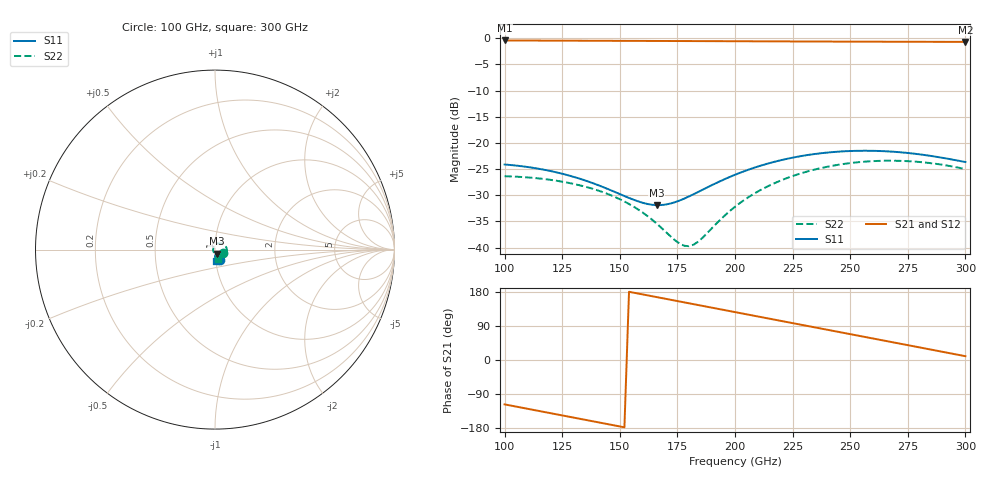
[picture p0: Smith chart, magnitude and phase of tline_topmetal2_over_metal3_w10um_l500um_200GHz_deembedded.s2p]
! Created with skrf 2.0.1 (http://scikit-rf.org).
# GHz S DB R 50.0
!freq dBS11 angS11 dBS21 angS21 dBS12 angS12 dBS22 angS22
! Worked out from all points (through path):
!   101 points, 100 GHz to 300 GHz, reference 50 ohm
!   highest |S21| = -0.41 dB at 100 GHz (marker M1); lowest = -0.7 dB at 300 GHz (marker M2)
!   group delay of S21, straight-line fit = 3.23 ps
!   lowest |S11| = -31.9 dB at 166 GHz (marker M3), VSWR 1.05, Z = 50.9 - j2.39 ohm
!   |S11| at or under -10 dB: start of sweep to end of sweep
!   |S22| runs from -39.7 to -23.4 dB; largest |S21 - S12| = 1.1e-14
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100  -24.12 -63.8  -0.41 -117.1  -0.41 -117.1  -26.36 -26.0
108  -24.49 -71.0  -0.42 -126.5  -0.42 -126.5  -26.53 -32.5
118  -25.20 -79.0  -0.44 -138.1  -0.44 -138.1  -26.95 -41.4
134  -27.03 -88.2  -0.46 -156.7  -0.46 -156.7  -28.25 -58.0
144  -28.66 -89.7  -0.47 -168.4  -0.47 -168.4  -29.63 -70.5
152  -30.15 -86.5  -0.48 -177.7  -0.48 -177.7  -31.19 -82.4
160  -31.45 -77.6  -0.50 173.0  -0.50 173.0  -33.33 -97.3
166  -31.89 -67.3  -0.50 166.0  -0.50 166.0  -35.42 -112.7
168  -31.87 -63.5  -0.51 163.7  -0.51 163.7  -36.21 -119.1
176  -31.00 -49.9  -0.52 154.4  -0.52 154.4  -39.26 -157.2
180  -30.23 -45.0  -0.53 149.7  -0.53 149.7  -39.73 175.8
184  -29.37 -41.6  -0.53 145.0  -0.53 145.0  -38.87 149.3
200  -26.09 -39.2  -0.56 126.4  -0.56 126.4  -32.21 90.6
208  -24.79 -41.9  -0.57 117.1  -0.57 117.1  -29.78 74.5
218  -23.51 -46.9  -0.59 105.5  -0.59 105.5  -27.52 57.7
226  -22.73 -51.7  -0.60 96.2  -0.60 96.2  -26.18 45.4
234  -22.15 -56.9  -0.61 86.9  -0.61 86.9  -25.15 33.6
250  -21.55 -67.3  -0.63 68.3  -0.63 68.3  -23.85 10.2
258  -21.50 -72.2  -0.64 59.0  -0.64 59.0  -23.53 -1.6
268  -21.66 -77.8  -0.65 47.3  -0.65 47.3  -23.40 -16.8
284  -22.42 -84.4  -0.67 28.7  -0.67 28.7  -23.82 -42.8
300  -23.65 -86.0  -0.68 10.0  -0.68 10.0  -25.01 -72.5
